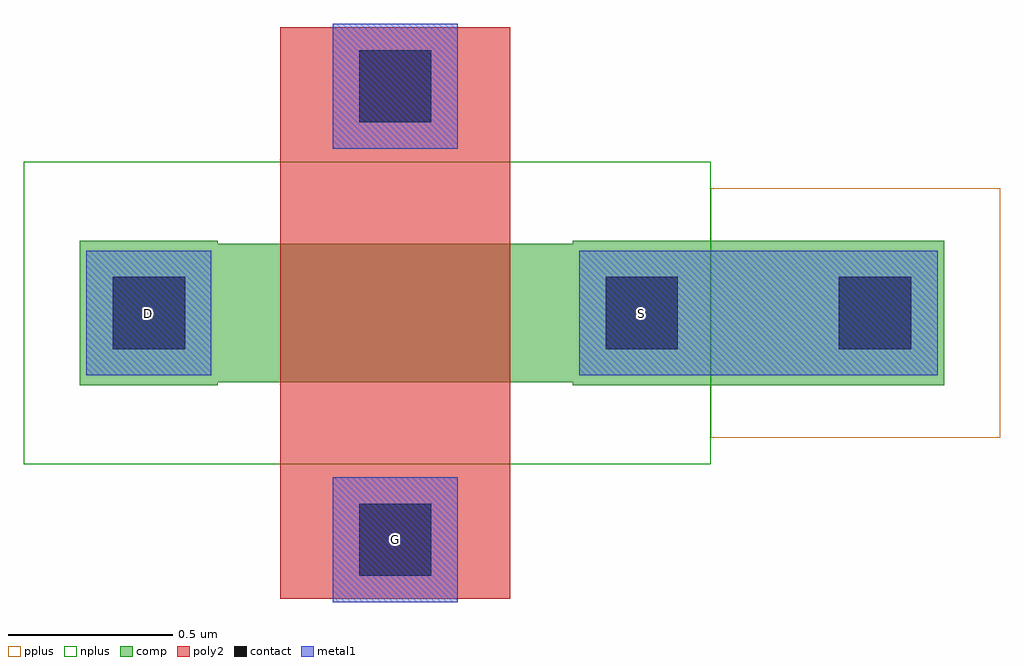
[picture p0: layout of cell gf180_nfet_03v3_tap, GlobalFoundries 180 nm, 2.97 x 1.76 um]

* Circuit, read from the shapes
.subckt gf180_nfet_03v3_tap D G S
XM1 S G D S nfet_03v3 w=0.42u l=0.7u
.ends

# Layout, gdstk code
import gdstk
lib = gdstk.Library(unit=1e-6, precision=1e-09)
def R(c, l, rs):  # rectangles x0, y0, x1, y1
    for r in rs: c.add(gdstk.rectangle(r[:2], r[2:], *l))
def P(c, l, *ps):  # polygons
    for p in ps: c.add(gdstk.Polygon(p, *l))
comp = (22, 0)
poly2 = (30, 0)
pplus = (31, 0)
nplus = (32, 0)
contact = (33, 0)
metal1 = (34, 0)

nfet = lib.new_cell('nfet')
P(nfet, comp, [(-0.42,-0.01),(-0.42,0.43),(0,0.43),(0,0.42),(1.08,0.42),(1.08,0.43),(2.21,0.43),(2.21,-0.01),(1.08,-0.01),(1.08,0),(0,0),(0,-0.01)])
R(nfet, poly2, [(0.19,-0.66,0.89,1.08)])
R(nfet, pplus, [(1.5,-0.17,2.38,0.59)])
R(nfet, nplus, [(-0.59,-0.25,1.5,0.67)])
R(nfet, contact, [(0.43,-0.59,0.65,-0.37), (-0.32,0.1,-0.1,0.32), (1.18,0.1,1.4,0.32), (1.89,0.1,2.11,0.32), (0.43,0.79,0.65,1.01)])
R(nfet, metal1, [(0.35,-0.67,0.73,-0.29), (-0.4,0.02,-0.02,0.4), (1.1,0.02,1.48,0.4), (1.81,0.02,2.19,0.4), (0.35,0.71,0.73,1.09)])

gf180_nfet_03v3_tap = lib.new_cell('gf180_nfet_03v3_tap')
R(gf180_nfet_03v3_tap, metal1, [(1.48,0.02,1.81,0.4)])
gf180_nfet_03v3_tap.add(gdstk.Reference(nfet, (0,0)))
gf180_nfet_03v3_tap.add(gdstk.Label('D', (-0.21,0.21), layer=34, texttype=10))
gf180_nfet_03v3_tap.add(gdstk.Label('S', (1.29,0.21), layer=34, texttype=10))
gf180_nfet_03v3_tap.add(gdstk.Label('G', (0.54,-0.48), layer=34, texttype=10))

lib.write_gds('gf180_nfet_03v3_tap.gds')
